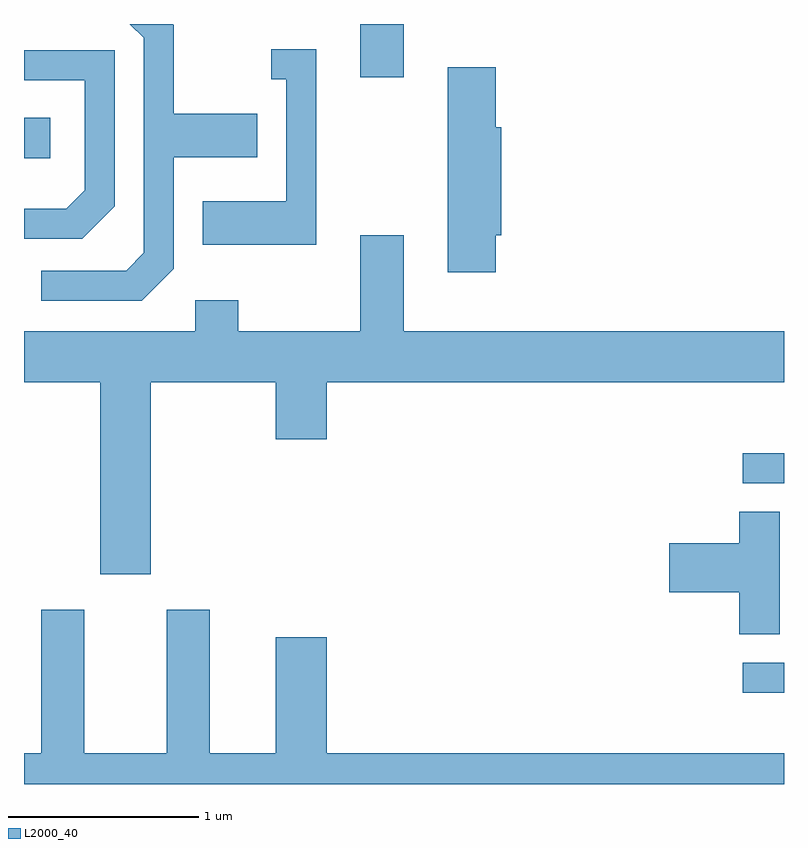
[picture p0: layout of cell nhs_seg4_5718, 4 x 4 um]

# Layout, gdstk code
import gdstk
lib = gdstk.Library(unit=1e-6, precision=1e-09)
def R(c, l, rs):  # rectangles x0, y0, x1, y1
    for r in rs: c.add(gdstk.rectangle(r[:2], r[2:], *l))
def P(c, l, *ps):  # polygons
    for p in ps: c.add(gdstk.Polygon(p, *l))
L2000_40 = (2000, 40)

nhs_seg4_5718 = lib.new_cell('nhs_seg4_5718')
R(nhs_seg4_5718, L2000_40, [(357.393,1266.461,357.611,1266.619), (357.393,1267.566,357.611,1267.724), (353.611,1269.276,353.749,1269.489), (355.381,1269.701,355.609,1269.982)])
P(nhs_seg4_5718, L2000_40, [(354.399,1268.694),(354.399,1269.281),(354.839,1269.281),(354.839,1269.509),(354.399,1269.509),(354.399,1269.977),(354.394,1269.982),(354.168,1269.982),(354.241,1269.909),(354.241,1268.777),(354.149,1268.684),(353.703,1268.684),(353.703,1268.526),(354.232,1268.526)],
  [(355.149,1269.849),(354.913,1269.849),(354.913,1269.691),(354.991,1269.691),(354.991,1269.049),(354.551,1269.049),(354.551,1268.821),(355.149,1268.821)],
  [(354.089,1269.024),(354.089,1269.844),(353.611,1269.844),(353.611,1269.686),(353.931,1269.686),(353.931,1269.107),(353.834,1269.009),(353.611,1269.009),(353.611,1268.851),(353.917,1268.851)],
  [(356.094,1268.871),(356.124,1268.871),(356.124,1269.439),(356.094,1269.439),(356.094,1269.754),(355.841,1269.754),(355.841,1268.676),(356.094,1268.676)],
  [(354.279,1268.096),(354.936,1268.096),(354.936,1267.796),(355.204,1267.796),(355.204,1268.096),(357.611,1268.096),(357.611,1268.364),(355.609,1268.364),(355.609,1268.869),(355.381,1268.869),(355.381,1268.364),(354.739,1268.364),(354.739,1268.529),(354.511,1268.529),(354.511,1268.364),(353.611,1268.364),(353.611,1268.096),(354.011,1268.096),(354.011,1267.086),(354.279,1267.086)],
  [(357.589,1267.414),(357.376,1267.414),(357.376,1267.249),(357.006,1267.249),(357.006,1266.991),(357.376,1266.991),(357.376,1266.771),(357.589,1266.771)],
  [(357.611,1266.144),(355.204,1266.144),(355.204,1266.754),(354.936,1266.754),(354.936,1266.144),(354.589,1266.144),(354.589,1266.899),(354.361,1266.899),(354.361,1266.144),(353.929,1266.144),(353.929,1266.899),(353.701,1266.899),(353.701,1266.144),(353.611,1266.144),(353.611,1265.982),(357.611,1265.982)])

lib.write_gds('nhs_seg4_5718.gds')
